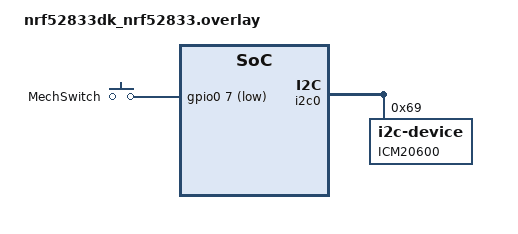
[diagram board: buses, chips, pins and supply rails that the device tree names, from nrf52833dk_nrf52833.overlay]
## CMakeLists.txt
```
# SPDX-License-Identifier: Apache-2.0

cmake_minimum_required(VERSION 3.20.0)

find_package(Zephyr REQUIRED HINTS $ENV{ZEPHYR_BASE})
project(hello_world)

target_sources(app PRIVATE src/main.c)
 
target_sources(app PRIVATE src/ICM20600.h)
```

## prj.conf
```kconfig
CONFIG_NEWLIB_LIBC=y
CONFIG_NEWLIB_LIBC_FLOAT_PRINTF=y
CONFIG_GPIO=y
CONFIG_I2C=y
```

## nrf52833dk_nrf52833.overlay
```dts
// To get started, press Ctrl+Space to bring up the completion menu and view the available nodes.

// You can also use the buttons in the sidebar to perform actions on nodes.
// Actions currently available include:

// * Enabling / disabling the node
// * Adding the bus to a bus
// * Removing the node
// * Connecting ADC channels

// For more help, browse the DeviceTree documentation at https://docs.zephyrproject.org/latest/guides/dts/index.html
// You can also visit the nRF DeviceTree extension documentation at https://nrfconnect.github.io/vscode-nrf-connect/devicetree/nrfdevicetree.html

&i2c0 {
    ICM20600: ICM20600@69 {
        compatible = "i2c-device";
        reg = < 0x69 >;
        label = "ICM20600";
    };
};

/ {
    externalswitches {
        compatible = "gpio-keys";
        mechswitch: Mech_Switch {
            gpios = < &gpio0 7 0x11>;
            label = "MechSwitch";
        };
    };
};
```

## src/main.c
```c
#include "ICM20600.h"


#define radius 8.5E-3
#define distance_per_step 2.0*3.14*8.5E-3/200.0
#define Sampling_period 1 // in micro secs
#define pi 3.14159265359


void my_work_handler(struct k_work *work)
{
	
    if(gpio_pin_get_dt(&Reset_Pin))
        {
            printf("Successfully Reset Offset: %d",gpio_pin_get_dt(&Reset_Pin));
            theta_offset = theta;
            Phi_offset = phi;
            Psi_offset = psi;
        }
    SimpleComplementaryFilter(getRawAccelerationX()*9.81/1000,getRawAccelerationY()*9.81/1000,getRawAccelerationZ()*9.81/1000,getRawGyroscopeX()*2*pi/360,getRawGyroscopeY()*2*pi/360,getRawGyroscopeZ()*2*pi/360,Sampling_period*pow(10,-3),theta_offset,Phi_offset,Psi_offset);
}
K_WORK_DEFINE(my_work, my_work_handler);

void my_timer_handler(struct k_timer *timer_id)
{
	k_work_submit(&my_work);
}
K_TIMER_DEFINE(my_timer, my_timer_handler, NULL);

void main(void)
{
    ICM20600_startup();
    printf("Temperature: %d",getTemperature());
    k_timer_start(&my_timer, K_SECONDS(0), K_MSEC(Sampling_period));
    while(1)
    {
        
    }

}
```

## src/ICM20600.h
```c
#ifndef ICM20600_h
#define ICM20600_h
#include <zephyr/drivers/i2c.h>
#include <zephyr/kernel.h>
#include <zephyr/drivers/gpio.h>
#include <stdlib.h>
#include <math.h>
#include <stdio.h>
#include <zephyr/device.h>


/***************************************************************
    ICM20600 I2C Register
 ***************************************************************/
#define ICM20600_XG_OFFS_TC_H           0x04
#define ICM20600_XG_OFFS_TC_L           0x05
#define ICM20600_YG_OFFS_TC_H           0x07
#define ICM20600_YG_OFFS_TC_L           0x08
#define ICM20600_ZG_OFFS_TC_H           0x0a
#define ICM20600_ZG_OFFS_TC_L           0x0b
#define ICM20600_SELF_TEST_X_ACCEL      0x0d
#define ICM20600_SELF_TEST_Y_ACCEL      0x0e
#define ICM20600_SELF_TEST_Z_ACCEL      0x0f
#define ICM20600_XG_OFFS_USRH           0x13
#define ICM20600_XG_OFFS_USRL           0x14
#define ICM20600_YG_OFFS_USRH           0x15
#define ICM20600_YG_OFFS_USRL           0x16
#define ICM20600_ZG_OFFS_USRH           0x17
#define ICM20600_ZG_OFFS_USRL           0x18
#define ICM20600_SMPLRT_DIV             0x19
#define ICM20600_CONFIG                 0x1a
#define ICM20600_GYRO_CONFIG            0x1b
#define ICM20600_ACCEL_CONFIG           0x1c
#define ICM20600_ACCEL_CONFIG2          0x1d
#define ICM20600_GYRO_LP_MODE_CFG       0x1e
#define ICM20600_ACCEL_WOM_X_THR        0x20
#define ICM20600_ACCEL_WOM_Y_THR        0x21
#define ICM20600_ACCEL_WOM_Z_THR        0x22
#define ICM20600_FIFO_EN                0x23
#define ICM20600_FSYNC_INT              0x36
#define ICM20600_INT_PIN_CFG            0x37
#define ICM20600_INT_ENABLE             0x38
#define ICM20600_FIFO_WM_INT_STATUS     0x39
#define ICM20600_INT_STATUS             0x3a
#define ICM20600_ACCEL_XOUT_H           0x3b
#define ICM20600_ACCEL_XOUT_L           0x3c
#define ICM20600_ACCEL_YOUT_H           0x3d
#define ICM20600_ACCEL_YOUT_L           0x3e
#define ICM20600_ACCEL_ZOUT_H           0x3f
#define ICM20600_ACCEL_ZOUT_L           0x40
#define ICM20600_TEMP_OUT_H             0x41
#define ICM20600_TEMP_OUT_L             0x42
#define ICM20600_GYRO_XOUT_H            0x43
#define ICM20600_GYRO_XOUT_L            0x44
#define ICM20600_GYRO_YOUT_H            0x45
#define ICM20600_GYRO_YOUT_L            0x46
#define ICM20600_GYRO_ZOUT_H            0x47
#define ICM20600_GYRO_ZOUT_L            0x48
#define ICM20600_SELF_TEST_X_GYRO       0x50
#define ICM20600_SELF_TEST_Y_GYRO       0x51
#define ICM20600_SELF_TEST_Z_GYRO       0x52
#define ICM20600_FIFO_WM_TH1            0x60
#define ICM20600_FIFO_WM_TH2            0x61
#define ICM20600_SIGNAL_PATH_RESET      0x68
#define ICM20600_ACCEL_INTEL_CTRL       0x69
#define ICM20600_USER_CTRL              0x6A
#define ICM20600_PWR_MGMT_1             0x6b
#define ICM20600_PWR_MGMT_2             0x6c
#define ICM20600_I2C_IF                 0x70
#define ICM20600_FIFO_COUNTH            0x72
#define ICM20600_FIFO_COUNTL            0x73
#define ICM20600_FIFO_R_W               0x74
#define ICM20600_WHO_AM_I               0x75
#define ICM20600_XA_OFFSET_H            0x77
#define ICM20600_XA_OFFSET_L            0x78
#define ICM20600_YA_OFFSET_H            0x7a
#define ICM20600_YA_OFFSET_L            0x7b
#define ICM20600_ZA_OFFSET_H            0x7d
#define ICM20600_ZA_OFFSET_L            0x7e

#define ICM20600_I2C_ADDR1              0x68
#define ICM20600_I2C_ADDR2              0x69

#define ICM20600_FIFO_EN_BIT            (1 << 6)
#define ICM20600_FIFO_RST_BIT           (1 << 2)
#define ICM20600_RESET_BIT              (1 << 0)
#define ICM20600_DEVICE_RESET_BIT       (1 << 7)

// System constants
#define gyroMeasError 0.5 // gyroscope measurement error in rad/s (shown as 5 deg/s)
#define beta sqrt(3.0f / 4.0f) * gyroMeasError // compute beta
#define I2C0_NODE DT_NODELABEL(icm20600) 
#define g 9.80665

static const struct gpio_dt_spec Reset_Pin = GPIO_DT_SPEC_GET(DT_NODELABEL(mechswitch), gpios);

// Gyroscope scale range
enum gyro_scale_type_t {
    RANGE_250_DPS = 0,
    RANGE_500_DPS,
    RANGE_1K_DPS,
    RANGE_2K_DPS,
};

// Accelerometer scale range
enum acc_scale_type_t {
    RANGE_2G = 0,
    RANGE_4G,
    RANGE_8G,
    RANGE_16G,
};

// Gyroscope output data rate
enum gyro_lownoise_odr_type_t {
    GYRO_RATE_8K_BW_3281 = 0,
    GYRO_RATE_8K_BW_250,
    GYRO_RATE_1K_BW_176,
    GYRO_RATE_1K_BW_92,
    GYRO_RATE_1K_BW_41,
    GYRO_RATE_1K_BW_20,
    GYRO_RATE_1K_BW_10,
    GYRO_RATE_1K_BW_5,
};

// Accelerometer output data rate
enum acc_lownoise_odr_type_t {
    ACC_RATE_4K_BW_1046 = 0,
    ACC_RATE_1K_BW_420,
    ACC_RATE_1K_BW_218,
    ACC_RATE_1K_BW_99,
    ACC_RATE_1K_BW_44,
    ACC_RATE_1K_BW_21,
    ACC_RATE_1K_BW_10,
    ACC_RATE_1K_BW_5,
};

// Averaging filter settings for Low Power Accelerometer mode
enum acc_averaging_sample_type_t {
    ACC_AVERAGE_4 = 0,
    ACC_AVERAGE_8,
    ACC_AVERAGE_16,
    ACC_AVERAGE_32,
};

// Averaging filter configuration for low-power gyroscope mode
enum gyro_averaging_sample_type_t {
    GYRO_AVERAGE_1 = 0,
    GYRO_AVERAGE_2,
    GYRO_AVERAGE_4,
    GYRO_AVERAGE_8,
    GYRO_AVERAGE_16,
    GYRO_AVERAGE_32,
    GYRO_AVERAGE_64,
    GYRO_AVERAGE_128,
};

// ICM20600 power mode
enum icm20600_power_type_t {
    ICM_SLEEP_MODE = 0,
    ICM_STANDYBY_MODE,
    ICM_ACC_LOW_POWER,
    ICM_ACC_LOW_NOISE,
    ICM_GYRO_LOW_POWER,
    ICM_GYRO_LOW_NOISE,
    ICM_6AXIS_LOW_POWER,
    ICM_6AXIS_LOW_NOISE,
};

static const struct i2c_dt_spec dev_i2c = I2C_DT_SPEC_GET(I2C0_NODE);
float SEq_1 = 1.0f, SEq_2 = 0.0f, SEq_3 = 0.0f, SEq_4 = 0.0f; // estimated orientation quaternion elements with initial conditions
double SE_q[4] = {1,0,0,0};
double theta = 0;
double phi = 0;
double psi = 0;
double theta_offset = 0;
double Phi_offset = 0;
double Psi_offset = 0;
/*
void button_pressed(const struct device *dev, struct gpio_callback *cb,uint32_t pins)
{
	theta_offset = theta;
    Phi_offset = phi;
    Psi_offset = psi;
}
*/
void ICM20600_startup()
{
    int ret;
    int8_t Buffer[16] = {0};
    printf("Starting...\n");//I2C_SPEED_GET(cfg)
    if (device_is_ready(dev_i2c.bus)) {
	printf("I2C bus %X is ready!\n\r",(uint32_t)(dev_i2c.bus->name));
    }
    

    // Get the Device ID
	ret = i2c_reg_read_byte_dt(&dev_i2c,ICM20600_WHO_AM_I,Buffer);
    printf("Stage: Config\n"); 
	ret = i2c_reg_write_byte_dt(&dev_i2c,ICM20600_CONFIG,0x00);

	// disable fifo: 1K byte FIFO buffer enables the applications processor to read the data in bursts

    printf("Stage: disabling fifo\n"); 
	ret = i2c_reg_write_byte_dt(&dev_i2c,ICM20600_FIFO_EN,0x00);
	
    //Set Power 
    uint8_t data_pwr1;
    uint8_t data_pwr2 = 0x00;
    uint8_t data_gyro_lp;
    printf("Stage: Setting Power\n"); 
    ret = i2c_reg_read_byte_dt(&dev_i2c,ICM20600_PWR_MGMT_1,Buffer); // _addr, ICM20600_PWR_MGMT_1, Buffer
    printf("Power Management 1: %X\n",Buffer[0]);
    data_pwr1 = Buffer[0];
    data_pwr1 &= 0x8f;                  // 0b10001111
    ret = i2c_reg_read_byte_dt(&dev_i2c,ICM20600_GYRO_LP_MODE_CFG,Buffer);
    printf("Power Management 2: %X\n",Buffer[0]);
    data_gyro_lp = Buffer[0];
    // When set to ‘1’ low-power gyroscope mode is enabled. Default setting is 0
    data_gyro_lp &= 0x7f;               // 0b01111111
    data_pwr1 |= 0x00;          // dont set bit5 0b00100000
    data_gyro_lp |= 0x80;        // set 0b01000000


    printf("Gyro Low Power: %X\n",data_gyro_lp);
    printf("Stage: Setting Power mode 1\n");
    ret = i2c_reg_write_byte_dt(&dev_i2c,ICM20600_PWR_MGMT_1,data_pwr1);
    printf("Stage: Setting Power mode 2\n");
    ret = i2c_reg_write_byte_dt(&dev_i2c,ICM20600_PWR_MGMT_2,data_pwr2);
    printf("Stage: Setting low power mode for Gyro \n");
    ret = i2c_reg_write_byte_dt(&dev_i2c,ICM20600_GYRO_LP_MODE_CFG,data_gyro_lp);
    
    // Gyro Config
    printf("Stage: reading Gyro Config \n");
    uint8_t data = 0;
    ret = i2c_reg_read_byte_dt(&dev_i2c,ICM20600_GYRO_CONFIG,Buffer);
    printf("Gyro Config: %X\n",Buffer[0]);
    data = Buffer[0];
    data &= 0xe7; // 0b11100111
    data |= 0x18;   // 0bxxx11xxx
    


    printf("Stage: Setting Gyro Config \n");
    ret = i2c_reg_write_byte_dt(&dev_i2c,ICM20600_GYRO_CONFIG,data);
    data = 0;
    ret = i2c_reg_read_byte_dt(&dev_i2c,ICM20600_CONFIG,Buffer);
    printf("Gyro Config: %X\n",Buffer[0]);
    data = Buffer[0];
    data &= 0xf8;
    data |= 0x01;
    printf("Stage: Setting I2c device config \n");
    ret = i2c_reg_write_byte_dt(&dev_i2c,ICM20600_CONFIG,data);
    data = 0;
    ret = i2c_reg_read_byte_dt(&dev_i2c,ICM20600_GYRO_LP_MODE_CFG,Buffer);
    printf("Gyro Config lp mode cfg(maybe 0): %X\n",Buffer[0]);
    data = Buffer[0];
    data &= 0x8f;  
    data |= 0x00;         // 0b10001111
    printf("Stage: Setting setting i2c gyro config \n");
    ret = i2c_reg_write_byte_dt(&dev_i2c,ICM20600_GYRO_CONFIG,data);
    // accel config
    data = 0;
    printf("Stage: Setting i2c accel config \n");
    ret = i2c_reg_read_byte_dt(&dev_i2c,ICM20600_ACCEL_CONFIG,Buffer);
    printf("Gyro Accleration Config: %X\n",Buffer[0]);
    data = Buffer[0];
    data &= 0xe7;
    data |= 0x18;   // 0bxxx11xxx
    
    printf("Gyro Accleration Config set point: %X\n",data);
    ret = i2c_reg_write_byte_dt(&dev_i2c,ICM20600_ACCEL_CONFIG,data);
    data = 0;
    ret = i2c_reg_read_byte_dt(&dev_i2c,ICM20600_ACCEL_CONFIG2,Buffer);
    printf("Gyro Accleration Config: %X\n",Buffer[0]);
    data = Buffer[0];
    data &= 0xf0;  // 0b11110000
    data |= 0x07;
    ret = i2c_reg_write_byte_dt(&dev_i2c,ICM20600_ACCEL_CONFIG2, data);
    data = 0;
    ret = i2c_reg_read_byte_dt(&dev_i2c,ICM20600_ACCEL_CONFIG2,Buffer);
    printf("Gyro Accleration Config 2: %X\n",Buffer[0]);
    data = Buffer[0];
    data &= 0xcf; // & 0b11001111
    data |= 0x00;
    ret = i2c_reg_write_byte_dt(&dev_i2c,ICM20600_ACCEL_CONFIG2,data);

    // To the offset, take the negative hexdecimal as a decimal: 0x4500 = 

    gpio_pin_configure_dt(&Reset_Pin, GPIO_INPUT);
}

int32_t getRawAccelerationX() {
    int8_t Buffer[16] = {0};
    int8_t buf[2] = {0};
    int ret = i2c_reg_read_byte_dt(&dev_i2c,ICM20600_ACCEL_XOUT_H,Buffer);
    buf[0] = Buffer[0];
    //ret = i2c_reg_read_byte_dt(&dev_i2c,ICM20600_ACCEL_XOUT_L,Buffer);
    //buf[1] = Buffer[0];
    int32_t raw_data = ((int16_t)buf[0] << 8) + buf[1];
    //printf("X: %x,",raw_data);
    raw_data = (raw_data * (32000)) >> 16;
    return (int16_t)raw_data+125;
}

int32_t getRawAccelerationY() {
    int8_t Buffer[16] = {0};
    int8_t buf[2] = {0};
    int ret = i2c_reg_read_byte_dt(&dev_i2c,ICM20600_ACCEL_YOUT_H,Buffer);
    buf[0] = Buffer[0];
    //ret = i2c_reg_read_byte_dt(&dev_i2c,ICM20600_ACCEL_YOUT_L,Buffer);
    //buf[1] = Buffer[0];
    int32_t raw_data = ((int16_t)buf[0] << 8) + buf[1];
    //printf("Y:  %x\n",raw_data);
    raw_data = (raw_data * (32000)) >> 16;
    return raw_data-499;
}

int32_t getRawAccelerationZ() {
    int8_t Buffer[16] = {0};
    int8_t buf[2] = {0};
    int ret = i2c_reg_read_byte_dt(&dev_i2c,ICM20600_ACCEL_ZOUT_H,Buffer);
    buf[0] = Buffer[0];
    //ret = i2c_reg_read_byte_dt(&dev_i2c,ICM20600_ACCEL_ZOUT_L,Buffer);
    //buf[1] = Buffer[0];
    int32_t raw_data = ((int16_t)buf[0] << 8) + buf[1];
    //printf(",Z:  %x\n",raw_data);
    raw_data = (raw_data * (32000)) >> 16;
    return raw_data;
}


int32_t getRawGyroscopeX() {
    int8_t Buffer[16] = {0};
    int8_t buf[2] = {0};
    int ret = i2c_reg_read_byte_dt(&dev_i2c,ICM20600_GYRO_XOUT_H,Buffer);
    buf[0] = Buffer[0];
    ret = i2c_reg_read_byte_dt(&dev_i2c,ICM20600_GYRO_XOUT_L,Buffer);
    //buf[1] = Buffer[0];
    int32_t raw_data = ((int32_t)buf[0] << 8) + buf[1];
    //printf("Gyro_x: %x\n",raw_data);
    raw_data = (raw_data * (4000)) >> 16;
    return raw_data-1031;
}

int32_t getRawGyroscopeY() {
    int8_t Buffer[16] = {0};
    int8_t buf[2] = {0};
    int ret = i2c_reg_read_byte_dt(&dev_i2c,ICM20600_GYRO_YOUT_H,Buffer);
    buf[0] = Buffer[0];
    //ret = i2c_reg_read_byte_dt(&dev_i2c,ICM20600_GYRO_YOUT_L,Buffer);
    //buf[1] = Buffer[0];
    int32_t raw_data = ((int32_t)buf[0] << 8) + buf[1];
    //printf("Gyro_y: %x\n",raw_data);
    raw_data = (raw_data *(4000)) >> 16;
    return raw_data;
}

int32_t getRawGyroscopeZ() {
    int8_t Buffer[16] = {0};
    int8_t buf[2] = {0};
    int ret = i2c_reg_read_byte_dt(&dev_i2c,ICM20600_GYRO_ZOUT_H,Buffer);
    buf[0] = Buffer[0];
    //ret = i2c_reg_read_byte_dt(&dev_i2c,ICM20600_GYRO_ZOUT_L,Buffer);
   // buf[1] = Buffer[0];
    int32_t raw_data = ((int32_t)buf[0] << 8) + buf[1];
    //printf("Gyro_z: %x\n",raw_data);
    raw_data = (raw_data * (4000)) >> 16;
    return raw_data+16;   //16
}

int32_t getTemperature(void) {
    uint16_t rawdata;
    uint8_t Buffer[16] = {0};
    int ret = i2c_reg_read_byte_dt(&dev_i2c,ICM20600_TEMP_OUT_H,Buffer);
    rawdata = (((uint16_t)Buffer[0]) << 8) + Buffer[1];
    return (int16_t)(rawdata / 327 + 25);
}



void SimpleComplementaryFilter(double a_x, double a_y, double a_z,double w_x,double w_y,double w_z,double dt,double Th_off,double phi_off,double psi_off)
{
    printf("a_x:%f,a_y:%f,a_z:%f,w_x:%f,w_y:%f,w_z:%f,",a_x,a_y,a_z,w_x,w_y,w_z);
    float norm; // vector norm
    float SEqDot_omega_1, SEqDot_omega_2, SEqDot_omega_3, SEqDot_omega_4; // quaternion derrivative from gyroscopes elements
    float f_1, f_2, f_3; // objective function elements
    float J_11or24, J_12or23, J_13or22, J_14or21, J_32, J_33; // objective function Jacobian elements
    float SEqHatDot_1, SEqHatDot_2, SEqHatDot_3, SEqHatDot_4; // estimated direction of the gyroscope error
    // Axulirary variables to avoid reapeated calcualtions
    float halfSEq_1 = 0.5f * SEq_1;
    float halfSEq_2 = 0.5f * SEq_2;
    float halfSEq_3 = 0.5f * SEq_3;
    float halfSEq_4 = 0.5f * SEq_4;
    float twoSEq_1 = 2.0f * SEq_1;
    float twoSEq_2 = 2.0f * SEq_2;
    float twoSEq_3 = 2.0f * SEq_3;
    // Normalise the accelerometer measurement
    norm = sqrt(a_x * a_x + a_y * a_y + a_z * a_z);
    a_x /= norm;
    a_y /= norm;
    a_z /= norm;
    // Compute the objective function and Jacobian
    f_1 = twoSEq_2 * SEq_4 - twoSEq_1 * SEq_3 - a_x;
    f_2 = twoSEq_1 * SEq_2 + twoSEq_3 * SEq_4 - a_y;
    f_3 = 1.0f - twoSEq_2 * SEq_2 - twoSEq_3 * SEq_3 - a_z;
    J_11or24 = twoSEq_3; // J_11 negated in matrix multiplication
    J_12or23 = 2.0f * SEq_4;
    J_13or22 = twoSEq_1; // J_12 negated in matrix multiplication
    J_14or21 = twoSEq_2;
    J_32 = 2.0f * J_14or21; // negated in matrix multiplication
    J_33 = 2.0f * J_11or24; // negated in matrix multiplication
    // Compute the gradient (matrix multiplication)
    SEqHatDot_1 = J_14or21 * f_2 - J_11or24 * f_1;
    SEqHatDot_2 = J_12or23 * f_1 + J_13or22 * f_2 - J_32 * f_3;
    SEqHatDot_3 = J_12or23 * f_2 - J_33 * f_3 - J_13or22 * f_1;
    SEqHatDot_4 = J_14or21 * f_1 + J_11or24 * f_2;
    // Normalise the gradient
    norm = sqrt(SEqHatDot_1 * SEqHatDot_1 + SEqHatDot_2 * SEqHatDot_2 + SEqHatDot_3 * SEqHatDot_3 + SEqHatDot_4 * SEqHatDot_4);
    SEqHatDot_1 /= norm;
    SEqHatDot_2 /= norm;
    SEqHatDot_3 /= norm;
    SEqHatDot_4 /= norm;
    // Compute the quaternion derrivative measured by gyroscopes
    SEqDot_omega_1 = -halfSEq_2 * w_x - halfSEq_3 * w_y - halfSEq_4 * w_z;
    SEqDot_omega_2 = halfSEq_1 * w_x + halfSEq_3 * w_z - halfSEq_4 * w_y;
    SEqDot_omega_3 = halfSEq_1 * w_y - halfSEq_2 * w_z + halfSEq_4 * w_x;
    SEqDot_omega_4 = halfSEq_1 * w_z + halfSEq_2 * w_y - halfSEq_3 * w_x;
    // Compute then integrate the estimated quaternion derrivative
    SEq_1 += (SEqDot_omega_1 - (beta * SEqHatDot_1)) * dt;
    SEq_2 += (SEqDot_omega_2 - (beta * SEqHatDot_2)) * dt;
    SEq_3 += (SEqDot_omega_3 - (beta * SEqHatDot_3)) * dt;
    SEq_4 += (SEqDot_omega_4 - (beta * SEqHatDot_4)) * dt;
    // Normalise quaternion
    norm = sqrt(SEq_1 * SEq_1 + SEq_2 * SEq_2 + SEq_3 * SEq_3 + SEq_4 * SEq_4);
    SEq_1 /= norm;
    SEq_2 /= norm;
    SEq_3 /= norm;
    SEq_4 /= norm;
    theta = -asin(2*SEq_2*SEq_4+2*SEq_2*SEq_4)-Th_off;
    if(isnan(theta))//double Th_off,double phi_off,double psi_off
    {
        theta = 0;
    }
    phi = atan2(2*SEq_3*SEq_4-2*SEq_1*SEq_2,2*SEq_1*SEq_1+2*SEq_4*SEq_4-1)-phi_off;
    if(isnan(phi))
    {
        phi = 0;
    }
    psi = atan2(2*SEq_2*SEq_3-2*SEq_1*SEq_4,2*SEq_1*SEq_1+2*SEq_2*SEq_2-1)-psi_off;
    if(isnan(psi))
    {
        psi = 0;
    }
    printf("%f,%f,%f\n",theta,phi,psi);
    return theta, phi,psi;
}
#endif
```
